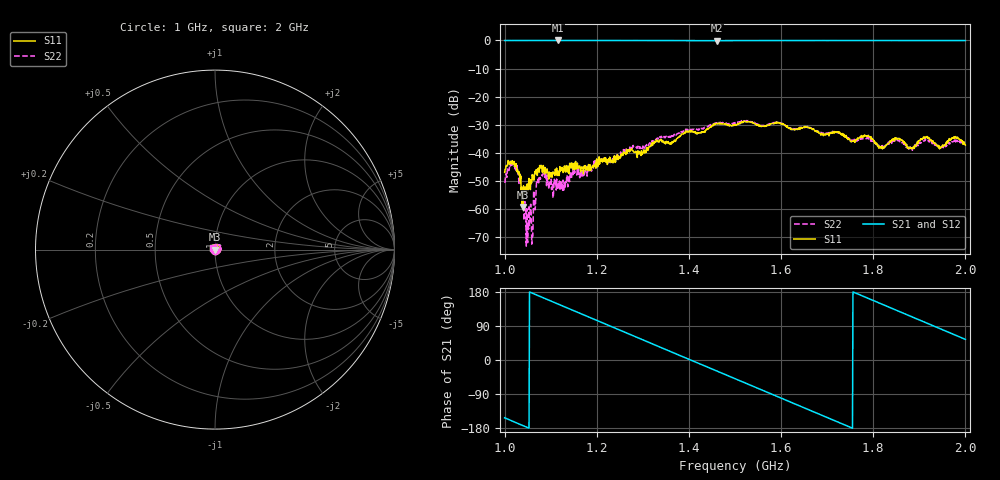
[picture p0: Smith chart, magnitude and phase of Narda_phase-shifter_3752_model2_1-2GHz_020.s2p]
#  HZ  S  DB  R  50.00
! Rohde & Schwarz Vector Network Analyzer
! Rohde-Schwarz,ZNB8-4Port,1311601044102961,2.82
! Created: UTC 1/17/2019, 2:51:10 PM
! freq[Hz]  db:S11  ang:S11  db:S21  ang:S21  db:S12  ang:S12  db:S22  ang:S22
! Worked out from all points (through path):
!   1001 points, 1 GHz to 2 GHz, reference 50 ohm
!   highest |S21| = -0.03 dB at 1.115 GHz (marker M1); lowest = -0.1 dB at 1.46 GHz (marker M2)
!   group delay of S21, straight-line fit = 1.42 ns
!   lowest |S11| = -59.2 dB at 1.04 GHz (marker M3), VSWR 1.00, Z = 49.9 - j0.0743 ohm
!   |S11| at or under -10 dB: start of sweep to end of sweep
!   |S22| runs from -73.1 to -28.5 dB; largest |S21 - S12| = 0.011
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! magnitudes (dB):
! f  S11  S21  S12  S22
! 1 GHz  -46.9  0.0  -0.1  -50.3
! 1.022 GHz  -44.7  0.0  -0.1  -44.9
! 1.032 GHz  -48.0  0.0  -0.1  -48.9
! 1.04 GHz  -59.2  0.0  -0.1  -56.8
! 1.047 GHz  -53.4  0.0  -0.1  -73.1
! 1.055 GHz  -51.7  0.0  -0.1  -63.7
! 1.063 GHz  -49.7  0.0  -0.1  -53.6
! 1.068 GHz  -46.2  0.0  -0.1  -54.5
! 1.075 GHz  -46.8  0.0  -0.1  -48.3
! 1.115 GHz  -46.6  0.0  -0.1  -51.5
! 1.167 GHz  -45.0  0.0  -0.1  -48.1
! 1.334 GHz  -35.8  -0.1  -0.1  -34.5
! 1.46 GHz  -29.6  -0.1  -0.1  -29.4
! 1.5 GHz  -29.9  -0.1  -0.1  -29.2
! 1.667 GHz  -31.5  -0.1  -0.1  -31.4
! 1.834 GHz  -36.6  -0.1  -0.1  -36.9
! 1.854 GHz  -35.0  -0.1  -0.1  -35.7
! 1.881 GHz  -38.3  -0.1  -0.1  -38.2
! 1.914 GHz  -34.3  -0.1  -0.1  -35.6
! 1.945 GHz  -38.0  -0.1  -0.1  -37.9
! 1.979 GHz  -34.5  -0.1  -0.1  -36.1
! 2 GHz  -37.3  -0.1  -0.1  -37.7
